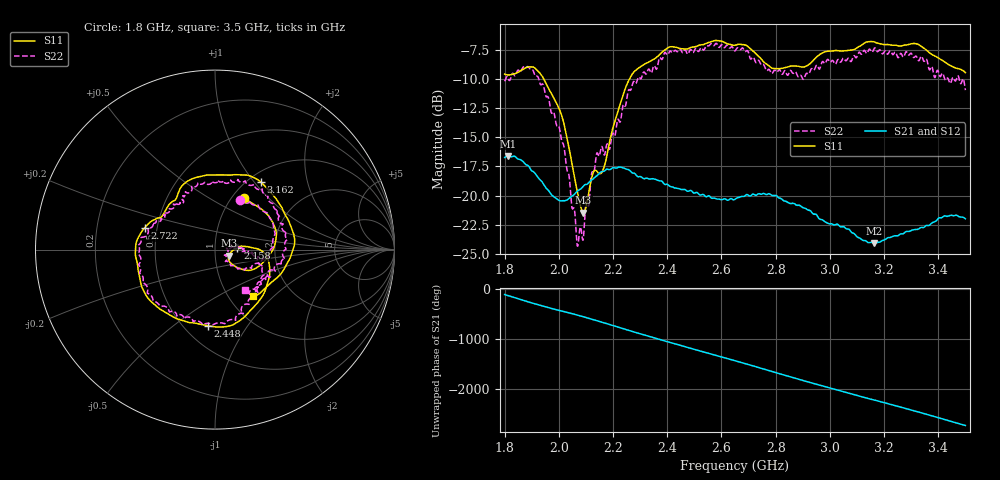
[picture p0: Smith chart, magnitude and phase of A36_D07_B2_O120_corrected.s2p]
! Created with skrf 1.9.0 (http://scikit-rf.org).
# Hz S RI R 50.0
!freq ReS11 ImS11 ReS21 ImS21 ReS12 ImS12 ReS22 ImS22
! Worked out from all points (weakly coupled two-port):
!   1601 points, 1.8 GHz to 3.5 GHz, reference 50 ohm
!   highest |S21| = -16.60 dB at 1.812 GHz (marker M1); lowest = -24.1 dB at 3.162 GHz (marker M2)
!   lowest |S11| = -21.5 dB at 2.09 GHz (marker M3), VSWR 1.18, Z = 58.3 - j3.97 ohm
!   |S11| at or under -10 dB: 1.944 GHz to 2.261 GHz (316.7 MHz wide, 15.1 % of centre)
!   |S22| runs from -24.3 to -7.0 dB; largest |S21 - S12| = 0.0027
!   S11 on the Smith chart (normalised r, x): 1.8 GHz: 1.13, +0.73; 2.158 GHz: 1.29, +0.02; 2.448 GHz: 0.65, -0.67; 2.722 GHz: 0.43, +0.12; 3.162 GHz: 1.14, +1.08; 3.5 GHz: 1.28, -0.76
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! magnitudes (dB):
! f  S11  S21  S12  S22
! 1.8 GHz  -9.6  -16.7  -16.7  -10.2
! 1.812 GHz  -9.7  -16.6  -16.6  -9.9
! 1.885 GHz  -9.0  -17.4  -17.4  -9.0
! 1.941 GHz  -9.9  -18.9  -18.9  -10.5
! 2.013 GHz  -13.3  -20.4  -20.4  -15.4
! 2.067 GHz  -19.5  -19.6  -19.6  -24.0
! 2.084 GHz  -21.2  -19.4  -19.3  -23.1
! 2.09 GHz  -21.5  -19.2  -19.2  -23.7
! 2.127 GHz  -18.0  -18.6  -18.5  -18.1
! 2.158 GHz  -18.0  -17.9  -17.9  -15.8
! 2.189 GHz  -15.2  -17.8  -17.8  -15.9
! 2.258 GHz  -10.1  -17.8  -17.8  -10.9
! 2.367 GHz  -8.0  -18.7  -18.7  -8.5
! 2.448 GHz  -7.4  -19.4  -19.4  -7.5
! 2.65 GHz  -7.1  -20.3  -20.3  -7.6
! 2.722 GHz  -7.7  -19.9  -19.9  -8.4
! 2.795 GHz  -9.1  -20.0  -20.0  -9.3
! 2.934 GHz  -8.6  -21.5  -21.4  -9.1
! 3.162 GHz  -6.8  -24.1  -24.0  -7.5
! 3.217 GHz  -7.1  -23.6  -23.6  -7.8
! 3.323 GHz  -7.0  -22.9  -22.8  -8.3
! 3.5 GHz  -9.5  -22.0  -22.0  -11.0
